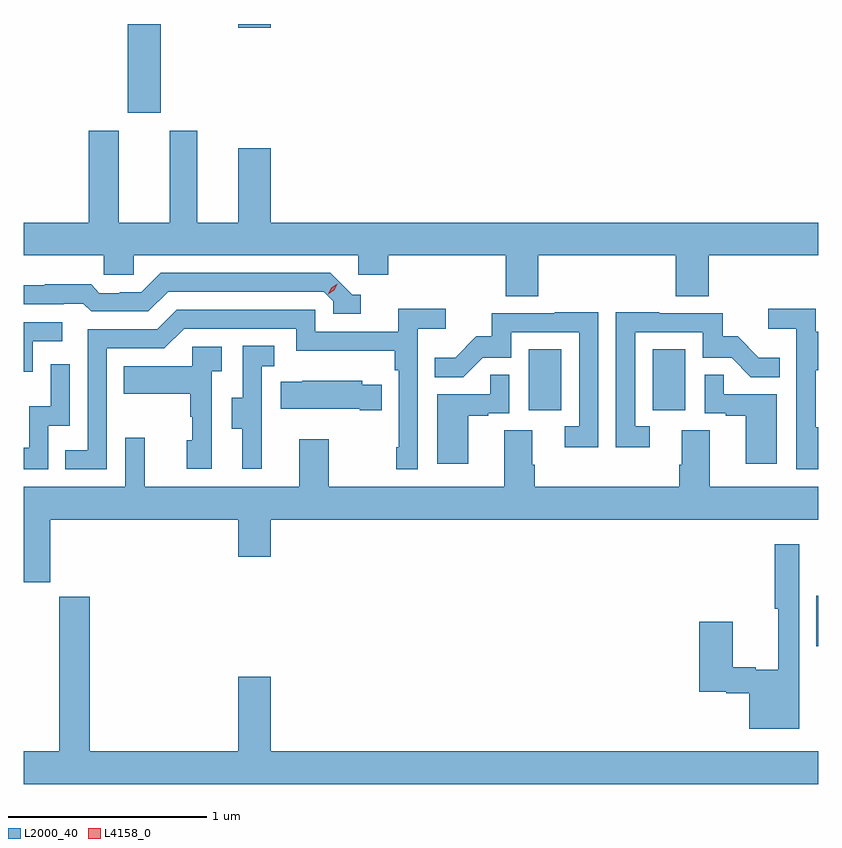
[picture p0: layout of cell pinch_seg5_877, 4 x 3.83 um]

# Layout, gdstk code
import gdstk
lib = gdstk.Library(unit=1e-6, precision=1e-09)
def R(c, l, rs):  # rectangles x0, y0, x1, y1
    for r in rs: c.add(gdstk.rectangle(r[:2], r[2:], *l))
def P(c, l, *ps):  # polygons
    for p in ps: c.add(gdstk.Polygon(p, *l))
L2000_40 = (2000, 40)
L4158_0 = (4158, 0)

pinch_seg5_877 = lib.new_cell('pinch_seg5_877')
R(pinch_seg5_877, L2000_40, [(863.225,877.433,863.233,877.687), (861.776,878.622,861.94,878.929), (862.4,878.622,862.564,878.929), (859.757,880.122,859.921,880.568), (860.312,880.548,860.476,880.568)])
P(pinch_seg5_877, L2000_40, [(861.824,879.404),(862.517,879.404),(862.517,879.196),(862.682,879.196),(862.682,879.404),(863.233,879.404),(863.233,879.568),(860.476,879.568),(860.476,879.943),(860.312,879.943),(860.312,879.568),(860.107,879.568),(860.107,880.03),(859.967,880.03),(859.967,879.568),(859.711,879.568),(859.711,880.03),(859.559,880.03),(859.559,879.568),(859.233,879.568),(859.233,879.404),(859.635,879.404),(859.635,879.306),(859.785,879.306),(859.785,879.404),(860.916,879.404),(860.916,879.306),(861.068,879.306),(861.068,879.404),(861.659,879.404),(861.659,879.196),(861.824,879.196)],
  [(860.929,879.204),(860.886,879.204),(860.775,879.315),(859.922,879.315),(859.823,879.216),(859.716,879.216),(859.716,879.213),(859.613,879.213),(859.571,879.256),(859.338,879.256),(859.338,879.253),(859.233,879.253),(859.233,879.156),(859.433,879.156),(859.433,879.159),(859.532,879.159),(859.571,879.12),(859.86,879.12),(859.959,879.219),(860.742,879.219),(860.79,879.171),(860.79,879.108),(860.929,879.108)],
  [(859.65,878.934),(859.941,878.934),(860.04,879.033),(860.604,879.033),(860.604,878.921),(861.1,878.921),(861.1,878.825),(861.12,878.825),(861.12,878.437),(861.108,878.437),(861.108,878.325),(861.216,878.325),(861.216,879.032),(861.358,879.032),(861.358,879.134),(861.119,879.134),(861.119,879.018),(860.7,879.018),(860.7,879.129),(860.003,879.129),(859.904,879.03),(859.554,879.03),(859.554,878.421),(859.441,878.421),(859.441,878.325),(859.65,878.325)],
  [(863.233,878.537),(863.221,878.537),(863.221,878.825),(863.233,878.825),(863.233,879.018),(863.222,879.018),(863.222,879.134),(862.983,879.134),(862.983,879.032),(863.124,879.032),(863.124,878.325),(863.233,878.325)],
  [(862.125,879.116),(861.907,879.116),(861.907,879.111),(861.589,879.111),(861.589,878.994),(861.512,878.994),(861.405,878.887),(861.301,878.887),(861.301,878.788),(861.445,878.788),(861.543,878.886),(861.687,878.886),(861.687,879.015),(862.029,879.015),(862.029,878.541),(861.957,878.541),(861.957,878.436),(862.125,878.436)],
  [(862.384,878.541),(862.311,878.541),(862.311,879.015),(862.653,879.015),(862.653,878.886),(862.797,878.886),(862.895,878.788),(863.039,878.788),(863.039,878.887),(862.935,878.887),(862.828,878.994),(862.752,878.994),(862.752,879.111),(862.433,879.111),(862.433,879.116),(862.215,879.116),(862.215,878.436),(862.384,878.436)],
  [(859.278,878.97),(859.426,878.97),(859.426,879.066),(859.233,879.066),(859.233,878.817),(859.278,878.817)],
  [(860.432,878.541),(860.43,878.541),(860.43,878.845),(860.494,878.845),(860.494,878.948),(860.334,878.948),(860.334,878.685),(860.279,878.685),(860.279,878.53),(860.333,878.53),(860.333,878.328),(860.432,878.328)],
  [(860.178,878.819),(860.23,878.819),(860.23,878.943),(860.082,878.943),(860.082,878.845),(859.735,878.845),(859.735,878.705),(860.07,878.705),(860.07,878.591),(860.08,878.591),(860.08,878.472),(860.054,878.472),(860.054,878.328),(860.178,878.328)],
  [(859.356,878.544),(859.464,878.544),(859.464,878.854),(859.368,878.854),(859.368,878.642),(859.259,878.642),(859.259,878.434),(859.233,878.434),(859.233,878.325),(859.356,878.325)],
  [(861.472,878.595),(861.572,878.595),(861.572,878.607),(861.678,878.607),(861.678,878.801),(861.583,878.801),(861.583,878.703),(861.314,878.703),(861.314,878.352),(861.472,878.352)],
  [(863.026,878.703),(862.757,878.703),(862.757,878.801),(862.662,878.801),(862.662,878.607),(862.769,878.607),(862.769,878.595),(862.868,878.595),(862.868,878.352),(863.026,878.352)],
  [(861.035,878.752),(860.937,878.752),(860.937,878.77),(860.635,878.77),(860.635,878.767),(860.527,878.767),(860.527,878.63),(860.924,878.63),(860.924,878.623),(861.035,878.623)],
  [(859.366,878.072),(860.312,878.072),(860.312,877.884),(860.476,877.884),(860.476,878.072),(863.233,878.072),(863.233,878.236),(862.687,878.236),(862.687,878.522),(862.547,878.522),(862.547,878.348),(862.535,878.348),(862.535,878.236),(861.806,878.236),(861.806,878.348),(861.793,878.348),(861.793,878.522),(861.653,878.522),(861.653,878.236),(860.769,878.236),(860.769,878.476),(860.621,878.476),(860.621,878.236),(859.841,878.236),(859.841,878.485),(859.743,878.485),(859.743,878.236),(859.233,878.236),(859.233,877.755),(859.366,877.755)],
  [(863.137,877.948),(863.016,877.948),(863.016,877.623),(863.033,877.623),(863.033,877.315),(862.919,877.315),(862.919,877.328),(862.804,877.328),(862.804,877.558),(862.634,877.558),(862.634,877.205),(862.77,877.205),(862.77,877.198),(862.886,877.198),(862.886,877.019),(863.137,877.019)],
  [(863.233,876.904),(860.476,876.904),(860.476,877.279),(860.312,877.279),(860.312,876.904),(859.565,876.904),(859.565,877.683),(859.412,877.683),(859.412,876.904),(859.233,876.904),(859.233,876.74),(863.233,876.74)])
P(pinch_seg5_877, L4158_0, [(860.765,879.206),(860.765,879.206),(860.78,879.239),(860.811,879.259),(860.811,879.259),(860.811,879.259),(860.796,879.226),(860.765,879.206)])

lib.write_gds('pinch_seg5_877.gds')
